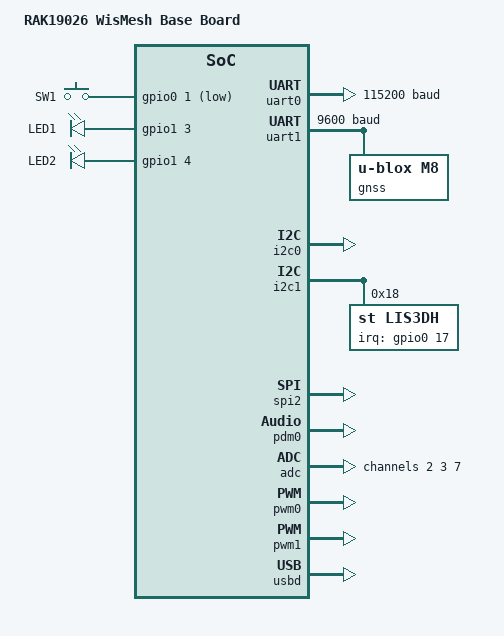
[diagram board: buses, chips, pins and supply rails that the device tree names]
/*
 * SPDX-License-Identifier: Apache-2.0
 * Copyright (c) 2026 RAKwireless Technology Co., Ltd.
 */

/dts-v1/;
#include <rakwireless/rak4630.dtsi>
#include <zephyr/dt-bindings/input/input-event-codes.h>
#include <zephyr/dt-bindings/gpio/gpio.h>
#include "rak19026-pinctrl.dtsi"

/ {
	model = "RAK19026 WisMesh Base Board";
	compatible = "rakwireless,rak19026";

	chosen {
		zephyr,console = &cdc_acm_uart0;
		zephyr,shell-uart = &cdc_acm_uart0;
		zephyr,uart-mcumgr = &cdc_acm_uart0;
		zephyr,bt-mon-uart = &cdc_acm_uart0;
		zephyr,bt-c2h-uart = &cdc_acm_uart0;
	};

	aliases {
		led0 = &gpio_led1;
		led1 = &gpio_led2;
		sw0 = &gpio_sw1;
	};

	gpio_keys {
		compatible = "gpio-keys";

		gpio_sw1: gpio_sw1 {
			gpios = <&gpio0 1 GPIO_ACTIVE_LOW>;
			label = "SW1";
			zephyr,code = <INPUT_KEY_0>;
		};
	};

	leds {
		compatible = "gpio-leds";

		gpio_led1: led1 {
			gpios = <&gpio1 3 GPIO_ACTIVE_HIGH>;
			label = "LED1";
		};

		gpio_led2: led2 {
			gpios = <&gpio1 4 GPIO_ACTIVE_HIGH>;
			label = "LED2";
		};
	};
};

&uart0 {
	status = "okay";
	pinctrl-0 = <&uart0_default>;
	pinctrl-1 = <&uart0_sleep>;
	pinctrl-names = "default", "sleep";
	current-speed = <115200>;
};

&uart1 {
	status = "okay";
	pinctrl-0 = <&uart1_default>;
	pinctrl-1 = <&uart1_sleep>;
	pinctrl-names = "default", "sleep";
	current-speed = <9600>;

	gnss: gnss {
		compatible = "u-blox,m8";
		status = "okay";
	};
};

&i2c0 {
	status = "okay";
	compatible = "nordic,nrf-twi";
	pinctrl-0 = <&i2c0_default>;
	pinctrl-1 = <&i2c0_sleep>;
	pinctrl-names = "default", "sleep";
};

&i2c1 {
	status = "okay";
	pinctrl-0 = <&i2c1_default>;
	pinctrl-1 = <&i2c1_sleep>;
	pinctrl-names = "default", "sleep";

	lis3dh: lis3dh@18 {
		compatible = "st,lis3dh";
		reg = <0x18>;
		status = "okay";

		irq-gpios = <&gpio0 17 GPIO_ACTIVE_HIGH>;
	};
};

&spi2 {
	status = "okay";
	cs-gpios = <&gpio0 26 GPIO_ACTIVE_LOW>,
			<&gpio0 17 GPIO_ACTIVE_LOW>,
			<&gpio1 2 GPIO_ACTIVE_LOW>,
			<&gpio0 21 GPIO_ACTIVE_LOW>,
			<&gpio0 9 GPIO_ACTIVE_LOW>,
			<&gpio0 10 GPIO_ACTIVE_LOW>;

	pinctrl-0 = <&spi2_default>;
	pinctrl-1 = <&spi2_sleep>;
	pinctrl-names = "default", "sleep";
};

&pdm0 {
	status = "okay";
	pinctrl-0 = <&pdm0_default>;
	pinctrl-names = "default";
	clock-source = "PCLK32M_HFXO";
};

&adc {
	status = "okay";
        #address-cells = <1>;
	#size-cells = <0>;

        adc_chan2: channel@2 {
                reg = <2>;
		zephyr,gain = "ADC_GAIN_1_6";
		zephyr,resolution = <12>;
		zephyr,reference = "ADC_REF_INTERNAL";
		zephyr,acquisition-time = <ADC_ACQ_TIME_DEFAULT>;
        };

        adc_chan3: channel@3 {
                reg = <3>;
		zephyr,gain = "ADC_GAIN_1_6";
		zephyr,resolution = <12>;
		zephyr,reference = "ADC_REF_INTERNAL";
		zephyr,acquisition-time = <ADC_ACQ_TIME_DEFAULT>;
        };

	adc_chan7: channel@7 {
		reg = <7>;
		zephyr,gain = "ADC_GAIN_1_6";
		zephyr,resolution = <12>;
		zephyr,reference = "ADC_REF_INTERNAL";
		zephyr,acquisition-time = <ADC_ACQ_TIME_DEFAULT>;
	};
};

&pwm0 {
	status = "okay";
	pinctrl-0 = <&pwm0_default>;
	pinctrl-1 = <&pwm0_sleep>;
	pinctrl-names = "default", "sleep";
};

&pwm1 {
	status = "okay";
	pinctrl-0 = <&pwm1_default>;
	pinctrl-1 = <&pwm1_sleep>;
	pinctrl-names = "default", "sleep";
};

zephyr_udc0: &usbd {
	status = "okay";

	cdc_acm_uart0: cdc_acm_uart0 {
		status = "okay";
		compatible = "zephyr,cdc-acm-uart";
	};
};

#include "wisblock.dtsi"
